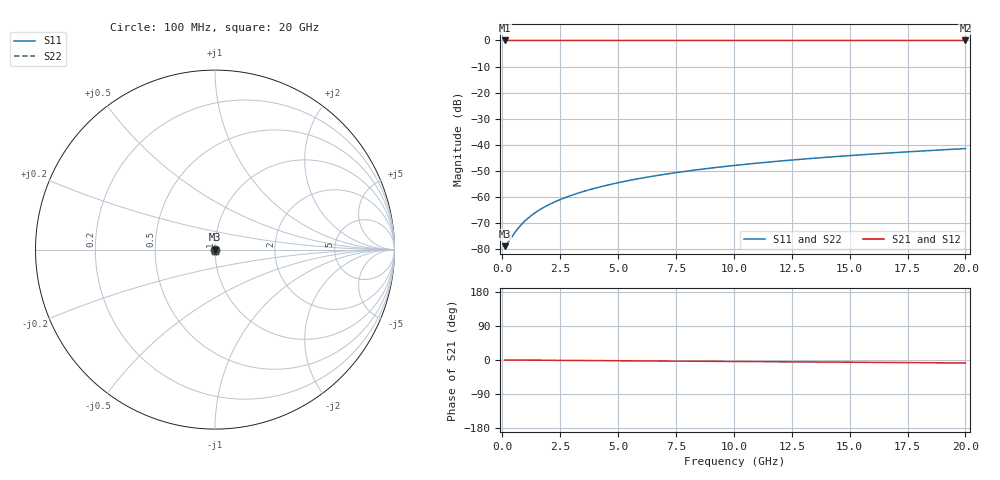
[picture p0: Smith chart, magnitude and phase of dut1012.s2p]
! Touchstone file exported from HFSS 2026.1.0
!  File:  C:/ffzhzh/LocalFiles/Ansys_Project_Files/temp_train_TSV_1012_1783188661_43440.aedt
!  Generated:  02:12:17 AM Jul  5, 2026
!  Design:  TSV
!  Project:  temp_train_TSV_1012_1783188661_43440
! Variables:
!  h_bsmrdl = 2um
!  h_ox = 20um
!  h_rdl = 5um
!  h_sub = 78.86um
!  h_tmrdl = 5um
!  h_tsv = 78.86um
!  h_via = 3um
!  l_bsmrdl = 300um
!  l_sub = 421.72um
!  l_tmrdl = 200um
!  m_sub = 200um
!  pitch = 41.11um
!  r_tsv = 10.86um
!  s_tmrdl = 10um
!  w_bsmrdl = 18um
!  w_sub = 500um
!  w_tmrdl = 12um
!  x_tsv_center1 = 206um
!  x_tsv_center2 = 524um
!  x_tsv_center3 = 736um
!  x_tsv_center4 = 1054um
!  x_tsv_center5 = 1266um
!  x_tsv_center6 = 1584um
# GHz S MA R 50.000000
! Terminal data exported
! Port[1] = TSV1_1_T1
! Port[2] = TSV1_1_T2
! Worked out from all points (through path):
!   200 points, 100 MHz to 20 GHz, reference 50 ohm
!   highest |S21| = 0.00 dB at 100 MHz (marker M1); lowest = 0.0 dB at 20 GHz (marker M2)
!   group delay of S21, straight-line fit = 1.08 ps
!   lowest |S11| = -78.9 dB at 100 MHz (marker M3), VSWR 1.00, Z = 50 + j0.000136 ohm
!   |S11| at or under -10 dB: start of sweep to end of sweep
!   |S22| runs from -78.9 to -41.5 dB; largest |S21 - S12| = 3.3e-15
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0.1  0.000113 0.7  0.9999 -0.0  0.9999 -0.0  0.000113 0.7
! Gamma 0 0 0 0
! Port Impedance 50 0 50 0
0.2  0.0001255 -0.1  0.9999 -0.1  0.9999 -0.1  0.0001255 -0.1
0.6  0.000223 -16.6  0.9998 -0.2  0.9998 -0.2  0.000223 -16.6
0.8  0.0002853 -25.9  0.9997 -0.3  0.9997 -0.3  0.0002853 -25.9
0.9  0.000318 -30.1  0.9997 -0.4  0.9997 -0.4  0.0003179 -30.1
1.1  0.0003851 -37.2  0.9997 -0.4  0.9997 -0.4  0.0003851 -37.2
1.4  0.0004888 -45.4  0.9997 -0.6  0.9997 -0.6  0.0004888 -45.4
1.6  0.0005593 -49.6  0.9996 -0.6  0.9996 -0.6  0.0005593 -49.6
1.8  0.0006307 -53.0  0.9996 -0.7  0.9996 -0.7  0.0006307 -53.0
2.3  0.0008124 -59.3  0.9996 -0.9  0.9996 -0.9  0.0008124 -59.3
2.9  0.001036 -64.2  0.9995 -1.1  0.9995 -1.1  0.001036 -64.2
3.5  0.001266 -67.6  0.9995 -1.4  0.9995 -1.4  0.001266 -67.6
4.2  0.001542 -70.4  0.9994 -1.7  0.9994 -1.7  0.001542 -70.4
5  0.001865 -72.8  0.9994 -2.0  0.9994 -2.0  0.001865 -72.8
5.9  0.002237 -75.0  0.9993 -2.3  0.9993 -2.3  0.002237 -75.0
6.8  0.002615 -76.7  0.9993 -2.7  0.9993 -2.7  0.002615 -76.7
8.3  0.003255 -79.1  0.9992 -3.3  0.9992 -3.3  0.003255 -79.1
10.1  0.004033 -81.4  0.9991 -4.0  0.9991 -4.0  0.004033 -81.4
11.7  0.004731 -83.1  0.999 -4.6  0.999 -4.6  0.00473 -83.1
13.4  0.005476 -84.7  0.999 -5.2  0.999 -5.2  0.005476 -84.7
16.7  0.006938 -87.2  0.9989 -6.5  0.9989 -6.5  0.006938 -87.2
20  0.008424 -89.3  0.9987 -7.8  0.9987 -7.8  0.008424 -89.4
